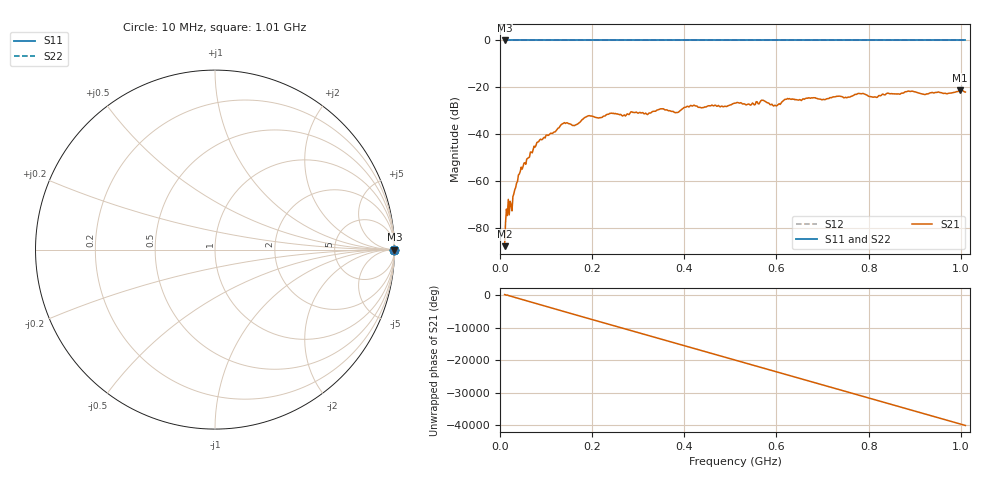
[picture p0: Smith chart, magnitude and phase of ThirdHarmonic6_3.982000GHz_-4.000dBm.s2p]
! 8/17/2025 2:11:01 PM
! C:\ANRITSUVNA\TEMP\TEMP.S2P
! CHANNEL.1
! TR.MEASUREMENT
! RAW.DATA
! RF.CORRECTION.OFF
! AVERAGING.OFF
! IF.BANDWIDTH: 5KHZ
! SWEEPTYPE:  FREQ.SWEEP(Linear)
! Reference Plane Port Info
! PORT:  PORT1  PORT2
! DISTANCE:  0  m  0  m
! TIME:  0  s  0  s
! PHASE.OFFSET:  0  deg.  0  deg.
! LOSS:  0  dB  0  dB
! REF.LOSS:  0  dB  0  dB
! REF.FREQ:  0  Hz  0  Hz
! Power Info
! POWER:  -20  dBm  -20  dBm
! EFF.POWER:  -20  dBm  -20  dBm
! SOURCE.ATTEN:  0  dB  0  dB
! TEST.ATTEN:  0  dB  0  dB
# GHZ S RI R 50.0
! FREQ.GHZ  S11RE  S11IM  S21RE  S21IM  S12RE  S12IM  S22RE  S22IM
!; PortSelection: Port_12
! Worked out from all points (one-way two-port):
!   501 points, 10 MHz to 1.01 GHz, reference 50 ohm
!   highest |S21| = -21.32 dB at 998 MHz (marker M1); lowest = -87.6 dB at 10 MHz (marker M2)
!   lowest |S11| = 0.0 dB at 10 MHz (marker M3)
!   |S11| at or under -10 dB: nowhere
!   |S22| runs from 0.0 to 0.0 dB; largest |S21 - S12| = 1.1
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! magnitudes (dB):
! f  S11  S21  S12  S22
! 10 MHz  0.0  -87.6  0.0  0.0
! 18 MHz  0.0  -67.7  0.0  0.0
! 24 MHz  0.0  -70.0  0.0  0.0
! 44 MHz  0.0  -55.8  0.0  0.0
! 78 MHz  0.0  -44.8  0.0  0.0
! 136 MHz  0.0  -35.5  0.0  0.0
! 162 MHz  0.0  -36.3  0.0  0.0
! 178 MHz  0.0  -33.7  0.0  0.0
! 194 MHz  0.0  -32.0  0.0  0.0
! 318 MHz  0.0  -31.3  0.0  0.0
! 344 MHz  0.0  -29.5  0.0  0.0
! 384 MHz  0.0  -30.7  0.0  0.0
! 418 MHz  0.0  -27.9  0.0  0.0
! 510 MHz  0.0  -26.7  0.0  0.0
! 570 MHz  0.0  -25.5  0.0  0.0
! 598 MHz  0.0  -27.7  0.0  0.0
! 622 MHz  0.0  -25.0  0.0  0.0
! 678 MHz  0.0  -24.5  0.0  0.0
! 814 MHz  0.0  -24.0  0.0  0.0
! 844 MHz  0.0  -22.6  0.0  0.0
! 998 MHz  0.0  -21.3  0.0  0.0
! 1.01 GHz  0.0  -22.0  0.0  0.0
